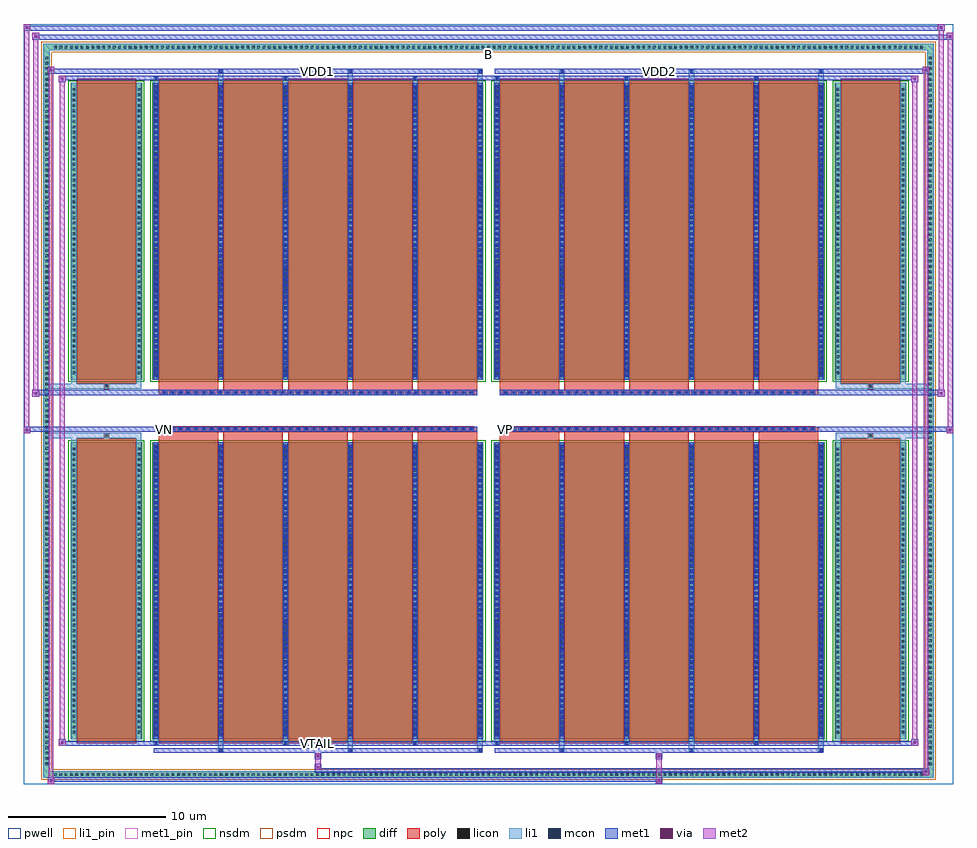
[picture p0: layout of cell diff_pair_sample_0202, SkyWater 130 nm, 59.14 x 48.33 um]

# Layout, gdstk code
import gdstk
lib = gdstk.Library(unit=1e-6, precision=5e-09)
def R(c, l, rs):  # rectangles x0, y0, x1, y1
    for r in rs: c.add(gdstk.rectangle(r[:2], r[2:], *l))
def A(c, l, x, y, w, h, nx, ny, dx, dy):  # array of equal rectangles
    R(c, l, [(x+i*dx, y+j*dy, x+i*dx+w, y+j*dy+h) for i in range(nx) for j in range(ny)])
def P(c, l, *ps):  # polygons
    for p in ps: c.add(gdstk.Polygon(p, *l))
pwell = (64, 44)
diff = (65, 20)
poly = (66, 20)
licon = (66, 44)
li1_pin = (67, 16)
li1 = (67, 20)
mcon = (67, 44)
met1_pin = (68, 16)
met1 = (68, 20)
via = (68, 44)
met2 = (69, 20)
nsdm = (93, 44)
psdm = (94, 20)
npc = (95, 20)

diff_pair_sample_0202 = lib.new_cell('diff_pair_sample_0202')
R(diff_pair_sample_0202, pwell, [(-29.57,-23.73,29.57,24.6), (-26.89,-21.92,-0.01,-0.8), (0.01,-21.92,26.89,-0.8), (-26.89,0.8,-0.01,21.92), (0.01,0.8,26.89,21.92)])
A(diff_pair_sample_0202, diff, -27.745, -23.33, 0.41, 0.41, 163, 2, 0.34, 46.25)
A(diff_pair_sample_0202, diff, -28.3, -22.645, 0.41, 0.41, 1, 133, 0, 0.34)
A(diff_pair_sample_0202, diff, 27.89, -22.645, 0.41, 0.41, 1, 133, 0, 0.34)
R(diff_pair_sample_0202, diff, [(-27.745,-23.33,27.745,-22.92), (-28.3,-22.645,-27.89,22.645), (27.89,-22.645,28.3,22.645), (-26.58,-20.875,-22.01,-1.985), (-21.37,-20.875,-0.32,-1.985), (0.32,-20.875,21.37,-1.985), (22.01,-20.875,26.58,-1.985), (-26.58,1.985,-22.01,20.875), (-21.37,1.985,-0.32,20.875), (0.32,1.985,21.37,20.875), (22.01,1.985,26.58,20.875), (-27.745,22.92,27.745,23.33)])
P(diff_pair_sample_0202, diff, [(28.3,23.33),(-28.3,23.33),(-28.3,-22.92),(-27.89,-22.92),(-27.89,22.92),(27.89,22.92),(27.89,-22.92),(-27.89,-22.92),(-28.3,-22.92),(-28.3,-23.33),(28.3,-23.33)])
A(diff_pair_sample_0202, poly, -20.98, -21.125, 3.79, 19.39, 5, 2, 4.12, 22.86)
A(diff_pair_sample_0202, poly, 0.71, -21.125, 3.79, 19.39, 5, 2, 4.12, 22.86)
A(diff_pair_sample_0202, poly, -20.98, -1.735, 3.79, 0.405, 5, 2, 4.12, 3.065)
A(diff_pair_sample_0202, poly, 0.71, -1.735, 3.79, 0.405, 5, 2, 4.12, 3.065)
A(diff_pair_sample_0202, poly, -20.76, -1.33, 0.33, 0.33, 40, 2, 0.5, 2.33)
A(diff_pair_sample_0202, poly, 0.93, -1.33, 0.33, 0.33, 40, 2, 0.5, 2.33)
R(diff_pair_sample_0202, poly, [(-26.19,-21.125,-22.4,-1.735), (22.4,-21.125,26.19,-1.735), (-24.46,-1.735,-24.13,-1.405), (-24.46,-1.735,-24.13,-1.405), (24.13,-1.735,24.46,-1.405), (24.13,-1.735,24.46,-1.405), (-20.98,-1.33,-0.71,-1), (0.71,-1.33,20.98,-1), (-20.98,1,-0.71,1.33), (0.71,1,20.98,1.33), (-24.46,1.405,-24.13,1.735), (-24.46,1.405,-24.13,1.735), (24.13,1.405,24.46,1.735), (24.13,1.405,24.46,1.735), (-26.19,1.735,-22.4,21.125), (22.4,1.735,26.19,21.125)])
A(diff_pair_sample_0202, licon, -27.625, -23.21, 0.17, 0.17, 163, 2, 0.34, 46.25)
A(diff_pair_sample_0202, licon, -28.18, -22.525, 0.17, 0.17, 1, 133, 0, 0.34)
A(diff_pair_sample_0202, licon, 28.01, -22.525, 0.17, 0.17, 1, 133, 0, 0.34)
A(diff_pair_sample_0202, licon, -26.44, -20.525, 0.17, 0.17, 1, 54, 0, 0.34)
A(diff_pair_sample_0202, licon, -22.32, -20.525, 0.17, 0.17, 1, 54, 0, 0.34)
A(diff_pair_sample_0202, licon, -21.23, -20.525, 0.17, 0.17, 6, 54, 4.12, 0.34)
A(diff_pair_sample_0202, licon, 0.46, -20.525, 0.17, 0.17, 6, 54, 4.12, 0.34)
A(diff_pair_sample_0202, licon, 22.15, -20.525, 0.17, 0.17, 1, 54, 0, 0.34)
A(diff_pair_sample_0202, licon, 26.27, -20.525, 0.17, 0.17, 1, 54, 0, 0.34)
A(diff_pair_sample_0202, licon, -20.68, -1.25, 0.17, 0.17, 40, 2, 0.5, 2.33)
A(diff_pair_sample_0202, licon, 1.01, -1.25, 0.17, 0.17, 40, 2, 0.5, 2.33)
A(diff_pair_sample_0202, licon, -26.44, 2.335, 0.17, 0.17, 1, 54, 0, 0.34)
A(diff_pair_sample_0202, licon, -22.32, 2.335, 0.17, 0.17, 1, 54, 0, 0.34)
A(diff_pair_sample_0202, licon, -21.23, 2.335, 0.17, 0.17, 6, 54, 4.12, 0.34)
A(diff_pair_sample_0202, licon, 0.46, 2.335, 0.17, 0.17, 6, 54, 4.12, 0.34)
A(diff_pair_sample_0202, licon, 22.15, 2.335, 0.17, 0.17, 1, 54, 0, 0.34)
A(diff_pair_sample_0202, licon, 26.27, 2.335, 0.17, 0.17, 1, 54, 0, 0.34)
R(diff_pair_sample_0202, licon, [(-24.38,-1.655,-24.21,-1.485), (24.21,-1.655,24.38,-1.485), (-24.38,1.485,-24.21,1.655), (24.21,1.485,24.38,1.655)])
R(diff_pair_sample_0202, li1_pin, [(-0.25,22.42,0.25,22.92)])
A(diff_pair_sample_0202, li1, -27.705, -23.29, 0.33, 0.33, 163, 2, 0.34, 46.25)
A(diff_pair_sample_0202, li1, -28.26, -22.605, 0.33, 0.33, 1, 133, 0, 0.34)
A(diff_pair_sample_0202, li1, 27.93, -22.605, 0.33, 0.33, 1, 133, 0, 0.34)
A(diff_pair_sample_0202, li1, -17.19, -21.68, 0.33, 0.805, 3, 2, 8.24, 42.555)
A(diff_pair_sample_0202, li1, -17.11, -21.68, 0.17, 0.17, 3, 2, 8.24, 43.19)
A(diff_pair_sample_0202, li1, 4.5, -21.68, 0.33, 0.805, 3, 2, 8.24, 42.555)
A(diff_pair_sample_0202, li1, 4.58, -21.68, 0.17, 0.17, 3, 2, 8.24, 43.19)
A(diff_pair_sample_0202, li1, -21.31, -21.25, 0.33, 0.375, 3, 2, 8.24, 42.125)
A(diff_pair_sample_0202, li1, -21.23, -21.25, 0.17, 0.17, 3, 2, 8.24, 42.33)
A(diff_pair_sample_0202, li1, 0.38, -21.25, 0.33, 0.375, 3, 2, 8.24, 42.125)
A(diff_pair_sample_0202, li1, 0.46, -21.25, 0.17, 0.17, 3, 2, 8.24, 42.33)
A(diff_pair_sample_0202, li1, -21.31, -20.875, 0.33, 18.89, 6, 2, 4.12, 22.86)
A(diff_pair_sample_0202, li1, 0.38, -20.875, 0.33, 18.89, 6, 2, 4.12, 22.86)
A(diff_pair_sample_0202, li1, -21.23, -20.695, 0.17, 0.17, 6, 52, 4.12, 0.36)
A(diff_pair_sample_0202, li1, -21.23, -20.695, 0.17, 18.53, 6, 2, 4.12, 22.86)
A(diff_pair_sample_0202, li1, 0.46, -20.695, 0.17, 0.17, 6, 52, 4.12, 0.36)
A(diff_pair_sample_0202, li1, 0.46, -20.695, 0.17, 18.53, 6, 2, 4.12, 22.86)
A(diff_pair_sample_0202, li1, -26.52, -20.605, 0.33, 0.33, 1, 54, 0, 0.34)
A(diff_pair_sample_0202, li1, -22.4, -20.605, 0.33, 0.33, 1, 54, 0, 0.34)
A(diff_pair_sample_0202, li1, -21.31, -20.605, 0.33, 0.33, 6, 54, 4.12, 0.34)
A(diff_pair_sample_0202, li1, 0.38, -20.605, 0.33, 0.33, 6, 54, 4.12, 0.34)
A(diff_pair_sample_0202, li1, 22.07, -20.605, 0.33, 0.33, 1, 54, 0, 0.34)
A(diff_pair_sample_0202, li1, 26.19, -20.605, 0.33, 0.33, 1, 54, 0, 0.34)
A(diff_pair_sample_0202, li1, -20.76, -1.33, 0.33, 0.33, 40, 2, 0.5, 2.33)
A(diff_pair_sample_0202, li1, 0.93, -1.33, 0.33, 0.33, 40, 2, 0.5, 2.33)
A(diff_pair_sample_0202, li1, -21.23, 2.165, 0.17, 0.17, 6, 52, 4.12, 0.36)
A(diff_pair_sample_0202, li1, 0.46, 2.165, 0.17, 0.17, 6, 52, 4.12, 0.36)
A(diff_pair_sample_0202, li1, -26.52, 2.255, 0.33, 0.33, 1, 54, 0, 0.34)
A(diff_pair_sample_0202, li1, -22.4, 2.255, 0.33, 0.33, 1, 54, 0, 0.34)
A(diff_pair_sample_0202, li1, -21.31, 2.255, 0.33, 0.33, 6, 54, 4.12, 0.34)
A(diff_pair_sample_0202, li1, 0.38, 2.255, 0.33, 0.33, 6, 54, 4.12, 0.34)
A(diff_pair_sample_0202, li1, 22.07, 2.255, 0.33, 0.33, 1, 54, 0, 0.34)
A(diff_pair_sample_0202, li1, 26.19, 2.255, 0.33, 0.33, 1, 54, 0, 0.34)
R(diff_pair_sample_0202, li1, [(-28.3,-23.33,-27.89,-22.92), (-28.3,-23.33,-27.89,-22.92), (-27.89,-23.33,27.89,-22.92), (27.89,-23.33,28.3,-22.92), (27.89,-23.33,28.3,-22.92), (-28.3,-22.92,-27.89,22.92), (27.89,-22.92,28.3,22.92), (-26.52,-20.875,-26.19,-1.985), (-22.4,-20.875,-22.07,-1.985), (22.07,-20.875,22.4,-1.985), (26.19,-20.875,26.52,-1.985), (-26.52,-1.985,-26.19,-1.405), (-22.4,-1.985,-22.07,-1.405), (22.07,-1.985,22.4,-1.405), (26.19,-1.985,26.52,-1.405), (-28.3,-1.735,-24.46,-1.405), (-26.52,-1.735,-24.46,-1.405), (-24.46,-1.735,-24.13,-1.405), (-24.13,-1.735,-22.07,-1.405), (22.07,-1.735,24.13,-1.405), (24.13,-1.735,24.46,-1.405), (24.13,-1.735,28.3,-1.405), (24.46,-1.735,26.52,-1.405), (-28.3,1.405,-24.46,1.735), (-26.52,1.405,-24.46,1.735), (-26.52,1.405,-26.19,1.985), (-24.46,1.405,-24.13,1.735), (-24.13,1.405,-22.07,1.735), (-22.4,1.405,-22.07,1.985), (22.07,1.405,24.13,1.735), (22.07,1.405,22.4,1.985), (24.13,1.405,24.46,1.735), (24.13,1.405,28.3,1.735), (24.46,1.405,26.52,1.735), (26.19,1.405,26.52,1.985), (-26.52,1.985,-26.19,20.875), (-22.4,1.985,-22.07,20.875), (22.07,1.985,22.4,20.875), (26.19,1.985,26.52,20.875), (-28.3,22.92,-27.89,23.33), (-28.3,22.92,-27.89,23.33), (-27.89,22.92,27.89,23.33), (27.89,22.92,28.3,23.33), (27.89,22.92,28.3,23.33)])
A(diff_pair_sample_0202, mcon, -17.11, -21.68, 0.17, 0.17, 3, 2, 8.24, 43.19)
A(diff_pair_sample_0202, mcon, 4.58, -21.68, 0.17, 0.17, 3, 2, 8.24, 43.19)
A(diff_pair_sample_0202, mcon, -21.23, -21.25, 0.17, 0.17, 3, 2, 8.24, 42.33)
A(diff_pair_sample_0202, mcon, 0.46, -21.25, 0.17, 0.17, 3, 2, 8.24, 42.33)
A(diff_pair_sample_0202, mcon, -21.23, -20.695, 0.17, 0.17, 6, 52, 4.12, 0.36)
A(diff_pair_sample_0202, mcon, 0.46, -20.695, 0.17, 0.17, 6, 52, 4.12, 0.36)
A(diff_pair_sample_0202, mcon, -20.68, -1.25, 0.17, 0.17, 40, 2, 0.5, 2.33)
A(diff_pair_sample_0202, mcon, 1.01, -1.25, 0.17, 0.17, 40, 2, 0.5, 2.33)
A(diff_pair_sample_0202, mcon, -21.23, 2.165, 0.17, 0.17, 6, 52, 4.12, 0.36)
A(diff_pair_sample_0202, mcon, 0.46, 2.165, 0.17, 0.17, 6, 52, 4.12, 0.36)
R(diff_pair_sample_0202, met1_pin, [(-10.98,-21.29,-10.71,-21.02), (-20.73,-1.29,-20.46,-1.02), (0.96,-1.29,1.23,-1.02), (-10.98,21.47,-10.71,21.74), (10.71,21.47,10.98,21.74)])
A(diff_pair_sample_0202, met1, -17.17, -21.74, 0.29, 0.29, 3, 2, 8.24, 43.19)
A(diff_pair_sample_0202, met1, 4.52, -21.74, 0.29, 0.29, 3, 2, 8.24, 43.19)
A(diff_pair_sample_0202, met1, -21.29, -21.31, 0.29, 0.29, 3, 2, 8.24, 42.33)
A(diff_pair_sample_0202, met1, 0.4, -21.31, 0.29, 0.29, 3, 2, 8.24, 42.33)
A(diff_pair_sample_0202, met1, -21.29, -20.875, 0.29, 18.89, 6, 2, 4.12, 22.86)
A(diff_pair_sample_0202, met1, 0.4, -20.875, 0.29, 18.89, 6, 2, 4.12, 22.86)
A(diff_pair_sample_0202, met1, -21.29, -20.755, 0.29, 0.29, 6, 52, 4.12, 0.36)
A(diff_pair_sample_0202, met1, 0.4, -20.755, 0.29, 0.29, 6, 52, 4.12, 0.36)
A(diff_pair_sample_0202, met1, -20.74, -1.31, 0.29, 0.29, 40, 2, 0.5, 2.33)
A(diff_pair_sample_0202, met1, 0.95, -1.31, 0.29, 0.29, 40, 2, 0.5, 2.33)
A(diff_pair_sample_0202, met1, -21.29, 2.105, 0.29, 0.29, 6, 52, 4.12, 0.36)
A(diff_pair_sample_0202, met1, 0.4, 2.105, 0.29, 0.29, 6, 52, 4.12, 0.36)
R(diff_pair_sample_0202, met1, [(-28.03,-23.73,-27.6,-23.3), (10.63,-23.73,11.06,-23.3), (-28.03,-23.59,11.06,-23.3), (27.6,-23.16,28.03,-22.73), (-11.06,-23.02,28.03,-22.73), (-11.06,-22.88,-10.63,-22.45), (-11.06,-22.17,-10.63,-21.74), (10.63,-22.17,11.06,-21.74), (-21.29,-21.74,-0.4,-21.45), (0.4,-21.74,21.29,-21.45), (-27.32,-21.31,-26.89,-20.88), (-27.32,-21.31,-21.29,-21.02), (-21.29,-21.31,-0.4,-21.02), (-0.4,-21.31,0.4,-21.02), (0.4,-21.31,21.29,-21.02), (21.29,-21.31,27.32,-21.02), (26.89,-21.31,27.32,-20.88), (-29.57,-1.43,-29.14,-1), (29.14,-1.43,29.57,-1), (-29.57,-1.33,-0.71,-1), (-20.98,-1.33,-0.71,-1), (0.71,-1.33,20.98,-1), (0.71,-1.33,29.57,-1), (-29,0.9,-28.57,1.33), (28.57,0.9,29,1.33), (-29,1,-20.98,1.33), (-20.98,1,-0.71,1.33), (0.71,1,20.98,1.33), (20.98,1,29,1.33), (-27.32,20.88,-26.89,21.31), (26.89,20.88,27.32,21.31), (-27.32,21.02,-21.29,21.31), (-21.29,21.02,-0.4,21.31), (-0.4,21.02,0.4,21.31), (0.4,21.02,21.29,21.31), (21.29,21.02,27.32,21.31), (-28.03,21.45,-27.6,21.88), (-28.03,21.45,-21.29,21.74), (-21.29,21.45,-0.4,21.74), (0.4,21.45,21.29,21.74), (21.29,21.45,28.03,21.74), (27.6,21.45,28.03,21.88), (-29,23.6,-28.57,24.03), (-29,23.6,-26.89,23.93), (-26.89,23.6,26.89,23.93), (26.89,23.6,29.57,23.93), (29.14,23.6,29.57,24.03), (-29.57,24.17,-29.14,24.6), (-29.57,24.17,-26.89,24.5), (-26.89,24.17,26.89,24.5), (26.89,24.17,29,24.5), (28.57,24.17,29,24.6)])
R(diff_pair_sample_0202, via, [(-27.89,-23.59,-27.74,-23.44), (10.77,-23.59,10.92,-23.44), (27.74,-23.02,27.89,-22.87), (-10.92,-22.74,-10.77,-22.59), (-10.92,-22.03,-10.77,-21.88), (10.77,-22.03,10.92,-21.88), (-27.18,-21.17,-27.03,-21.02), (27.03,-21.17,27.18,-21.02), (-29.43,-1.29,-29.28,-1.14), (29.28,-1.29,29.43,-1.14), (-28.86,1.04,-28.71,1.19), (28.71,1.04,28.86,1.19), (-27.18,21.02,-27.03,21.17), (27.03,21.02,27.18,21.17), (-27.89,21.59,-27.74,21.74), (27.74,21.59,27.89,21.74), (-28.86,23.74,-28.71,23.89), (29.28,23.74,29.43,23.89), (-29.43,24.31,-29.28,24.46), (28.71,24.31,28.86,24.46)])
R(diff_pair_sample_0202, met2, [(-28.03,-23.73,-27.6,-23.3), (-27.96,-23.73,-27.67,21.88), (-27.67,-23.73,-27.6,-23.3), (-27.98,-23.68,-27.65,-23.35), (10.68,-23.68,11.01,-23.35), (10.68,-23.35,11.01,-22.12), (27.6,-23.16,28.03,-22.73), (27.67,-23.16,27.96,21.88), (27.96,-23.16,28.03,-22.73), (27.65,-23.11,27.98,-22.78), (-11.01,-22.83,-10.68,-22.5), (-11.01,-22.5,-10.68,-22.12), (-11.01,-22.12,-10.68,-21.79), (10.68,-22.12,11.01,-21.79), (-27.32,-21.31,-26.89,-20.88), (-27.25,-21.31,-26.96,21.31), (-26.96,-21.31,-26.89,-20.88), (26.89,-21.31,27.32,-20.88), (26.96,-21.31,27.25,21.31), (27.25,-21.31,27.32,-20.88), (-27.27,-21.26,-26.94,-20.93), (26.94,-21.26,27.27,-20.93), (-29.57,-1.43,-29.14,-1), (-29.52,-1.43,-29.19,24.6), (-29.19,-1.43,-29.14,-1), (29.14,-1.43,29.57,-1), (29.19,-1.43,29.52,24.03), (29.52,-1.43,29.57,-1), (-29.52,-1.38,-29.19,-1.05), (29.19,-1.38,29.52,-1.05), (-29,0.9,-28.57,1.33), (-28.95,0.9,-28.62,24.03), (-28.62,0.9,-28.57,1.33), (28.57,0.9,29,1.33), (28.62,0.9,28.95,24.6), (28.95,0.9,29,1.33), (-28.95,0.95,-28.62,1.28), (28.62,0.95,28.95,1.28), (-27.32,20.88,-26.89,21.31), (-26.96,20.88,-26.89,21.31), (26.89,20.88,27.32,21.31), (27.25,20.88,27.32,21.31), (-27.27,20.93,-26.94,21.26), (26.94,20.93,27.27,21.26), (-28.03,21.45,-27.6,21.88), (-27.67,21.45,-27.6,21.88), (27.6,21.45,28.03,21.88), (27.96,21.45,28.03,21.88), (-27.98,21.5,-27.65,21.83), (27.65,21.5,27.98,21.83), (-29,23.6,-28.57,24.03), (-28.62,23.6,-28.57,24.03), (29.14,23.6,29.57,24.03), (29.52,23.6,29.57,24.03), (-28.95,23.65,-28.62,23.98), (29.19,23.65,29.52,23.98), (-29.57,24.17,-29.14,24.6), (-29.19,24.17,-29.14,24.6), (28.57,24.17,29,24.6), (28.95,24.17,29,24.6), (-29.52,24.22,-29.19,24.55), (28.62,24.22,28.95,24.55)])
R(diff_pair_sample_0202, nsdm, [(-26.71,-21.005,-21.88,-1.855), (-21.5,-21.005,-0.19,-1.855), (0.19,-21.005,21.5,-1.855), (21.88,-21.005,26.71,-1.855), (-26.71,1.855,-21.88,21.005), (-21.5,1.855,-0.19,21.005), (0.19,1.855,21.5,21.005), (21.88,1.855,26.71,21.005)])
P(diff_pair_sample_0202, psdm, [(28.43,23.46),(-28.43,23.46),(-28.43,-22.79),(-27.76,-22.79),(-27.76,22.79),(27.76,22.79),(27.76,-22.79),(-27.76,-22.79),(-28.43,-22.79),(-28.43,-23.46),(28.43,-23.46)])
A(diff_pair_sample_0202, npc, -20.78, -1.35, 0.37, 0.37, 40, 2, 0.5, 2.33)
A(diff_pair_sample_0202, npc, 0.91, -1.35, 0.37, 0.37, 40, 2, 0.5, 2.33)
R(diff_pair_sample_0202, npc, [(-24.48,-1.755,-24.11,-1.385), (24.11,-1.755,24.48,-1.385), (-20.78,-1.35,-19.91,-0.98), (-20.78,-1.35,-19.91,-0.98), (-20.28,-1.35,-19.41,-0.98), (-20.28,-1.35,-19.41,-0.98), (-19.78,-1.35,-18.91,-0.98), (-19.78,-1.35,-18.91,-0.98), (-19.28,-1.35,-18.41,-0.98), (-19.28,-1.35,-18.41,-0.98), (-18.78,-1.35,-17.91,-0.98), (-18.78,-1.35,-17.91,-0.98), (-18.28,-1.35,-17.41,-0.98), (-18.28,-1.35,-17.41,-0.98), (-17.78,-1.35,-16.91,-0.98), (-17.78,-1.35,-16.91,-0.98), (-17.28,-1.35,-16.41,-0.98), (-17.28,-1.35,-16.41,-0.98), (-16.78,-1.35,-15.91,-0.98), (-16.78,-1.35,-15.91,-0.98), (-16.28,-1.35,-15.41,-0.98), (-16.28,-1.35,-15.41,-0.98), (-15.78,-1.35,-14.91,-0.98), (-15.78,-1.35,-14.91,-0.98), (-15.28,-1.35,-14.41,-0.98), (-15.28,-1.35,-14.41,-0.98), (-14.78,-1.35,-13.91,-0.98), (-14.78,-1.35,-13.91,-0.98), (-14.28,-1.35,-13.41,-0.98), (-14.28,-1.35,-13.41,-0.98), (-13.78,-1.35,-12.91,-0.98), (-13.78,-1.35,-12.91,-0.98), (-13.28,-1.35,-12.41,-0.98), (-13.28,-1.35,-12.41,-0.98), (-12.78,-1.35,-11.91,-0.98), (-12.78,-1.35,-11.91,-0.98), (-12.28,-1.35,-11.41,-0.98), (-12.28,-1.35,-11.41,-0.98), (-11.78,-1.35,-10.91,-0.98), (-11.78,-1.35,-10.91,-0.98), (-11.28,-1.35,-10.41,-0.98), (-11.28,-1.35,-10.41,-0.98), (-10.78,-1.35,-9.91,-0.98), (-10.78,-1.35,-9.91,-0.98), (-10.28,-1.35,-9.41,-0.98), (-10.28,-1.35,-9.41,-0.98), (-9.78,-1.35,-8.91,-0.98), (-9.78,-1.35,-8.91,-0.98), (-9.28,-1.35,-8.41,-0.98), (-9.28,-1.35,-8.41,-0.98), (-8.78,-1.35,-7.91,-0.98), (-8.78,-1.35,-7.91,-0.98), (-8.28,-1.35,-7.41,-0.98), (-8.28,-1.35,-7.41,-0.98), (-7.78,-1.35,-6.91,-0.98), (-7.78,-1.35,-6.91,-0.98), (-7.28,-1.35,-6.41,-0.98), (-7.28,-1.35,-6.41,-0.98), (-6.78,-1.35,-5.91,-0.98), (-6.78,-1.35,-5.91,-0.98), (-6.28,-1.35,-5.41,-0.98), (-6.28,-1.35,-5.41,-0.98), (-5.78,-1.35,-4.91,-0.98), (-5.78,-1.35,-4.91,-0.98), (-5.28,-1.35,-4.41,-0.98), (-5.28,-1.35,-4.41,-0.98), (-4.78,-1.35,-3.91,-0.98), (-4.78,-1.35,-3.91,-0.98), (-4.28,-1.35,-3.41,-0.98), (-4.28,-1.35,-3.41,-0.98), (-3.78,-1.35,-2.91,-0.98), (-3.78,-1.35,-2.91,-0.98), (-3.28,-1.35,-2.41,-0.98), (-3.28,-1.35,-2.41,-0.98), (-2.78,-1.35,-1.91,-0.98), (-2.78,-1.35,-1.91,-0.98), (-2.28,-1.35,-1.41,-0.98), (-2.28,-1.35,-1.41,-0.98), (-1.78,-1.35,-0.91,-0.98), (-1.78,-1.35,-0.91,-0.98), (0.91,-1.35,1.78,-0.98), (0.91,-1.35,1.78,-0.98), (1.41,-1.35,2.28,-0.98), (1.41,-1.35,2.28,-0.98), (1.91,-1.35,2.78,-0.98), (1.91,-1.35,2.78,-0.98), (2.41,-1.35,3.28,-0.98), (2.41,-1.35,3.28,-0.98), (2.91,-1.35,3.78,-0.98), (2.91,-1.35,3.78,-0.98), (3.41,-1.35,4.28,-0.98), (3.41,-1.35,4.28,-0.98), (3.91,-1.35,4.78,-0.98), (3.91,-1.35,4.78,-0.98), (4.41,-1.35,5.28,-0.98), (4.41,-1.35,5.28,-0.98), (4.91,-1.35,5.78,-0.98), (4.91,-1.35,5.78,-0.98), (5.41,-1.35,6.28,-0.98), (5.41,-1.35,6.28,-0.98), (5.91,-1.35,6.78,-0.98), (5.91,-1.35,6.78,-0.98), (6.41,-1.35,7.28,-0.98), (6.41,-1.35,7.28,-0.98), (6.91,-1.35,7.78,-0.98), (6.91,-1.35,7.78,-0.98), (7.41,-1.35,8.28,-0.98), (7.41,-1.35,8.28,-0.98), (7.91,-1.35,8.78,-0.98), (7.91,-1.35,8.78,-0.98), (8.41,-1.35,9.28,-0.98), (8.41,-1.35,9.28,-0.98), (8.91,-1.35,9.78,-0.98), (8.91,-1.35,9.78,-0.98), (9.41,-1.35,10.28,-0.98), (9.41,-1.35,10.28,-0.98), (9.91,-1.35,10.78,-0.98), (9.91,-1.35,10.78,-0.98), (10.41,-1.35,11.28,-0.98), (10.41,-1.35,11.28,-0.98), (10.91,-1.35,11.78,-0.98), (10.91,-1.35,11.78,-0.98), (11.41,-1.35,12.28,-0.98), (11.41,-1.35,12.28,-0.98), (11.91,-1.35,12.78,-0.98), (11.91,-1.35,12.78,-0.98), (12.41,-1.35,13.28,-0.98), (12.41,-1.35,13.28,-0.98), (12.91,-1.35,13.78,-0.98), (12.91,-1.35,13.78,-0.98), (13.41,-1.35,14.28,-0.98), (13.41,-1.35,14.28,-0.98), (13.91,-1.35,14.78,-0.98), (13.91,-1.35,14.78,-0.98), (14.41,-1.35,15.28,-0.98), (14.41,-1.35,15.28,-0.98), (14.91,-1.35,15.78,-0.98), (14.91,-1.35,15.78,-0.98), (15.41,-1.35,16.28,-0.98), (15.41,-1.35,16.28,-0.98), (15.91,-1.35,16.78,-0.98), (15.91,-1.35,16.78,-0.98), (16.41,-1.35,17.28,-0.98), (16.41,-1.35,17.28,-0.98), (16.91,-1.35,17.78,-0.98), (16.91,-1.35,17.78,-0.98), (17.41,-1.35,18.28,-0.98), (17.41,-1.35,18.28,-0.98), (17.91,-1.35,18.78,-0.98), (17.91,-1.35,18.78,-0.98), (18.41,-1.35,19.28,-0.98), (18.41,-1.35,19.28,-0.98), (18.91,-1.35,19.78,-0.98), (18.91,-1.35,19.78,-0.98), (19.41,-1.35,20.28,-0.98), (19.41,-1.35,20.28,-0.98), (19.91,-1.35,20.78,-0.98), (19.91,-1.35,20.78,-0.98), (-20.78,0.98,-19.91,1.35), (-20.78,0.98,-19.91,1.35), (-20.28,0.98,-19.41,1.35), (-20.28,0.98,-19.41,1.35), (-19.78,0.98,-18.91,1.35), (-19.78,0.98,-18.91,1.35), (-19.28,0.98,-18.41,1.35), (-19.28,0.98,-18.41,1.35), (-18.78,0.98,-17.91,1.35), (-18.78,0.98,-17.91,1.35), (-18.28,0.98,-17.41,1.35), (-18.28,0.98,-17.41,1.35), (-17.78,0.98,-16.91,1.35), (-17.78,0.98,-16.91,1.35), (-17.28,0.98,-16.41,1.35), (-17.28,0.98,-16.41,1.35), (-16.78,0.98,-15.91,1.35), (-16.78,0.98,-15.91,1.35), (-16.28,0.98,-15.41,1.35), (-16.28,0.98,-15.41,1.35), (-15.78,0.98,-14.91,1.35), (-15.78,0.98,-14.91,1.35), (-15.28,0.98,-14.41,1.35), (-15.28,0.98,-14.41,1.35), (-14.78,0.98,-13.91,1.35), (-14.78,0.98,-13.91,1.35), (-14.28,0.98,-13.41,1.35), (-14.28,0.98,-13.41,1.35), (-13.78,0.98,-12.91,1.35), (-13.78,0.98,-12.91,1.35), (-13.28,0.98,-12.41,1.35), (-13.28,0.98,-12.41,1.35), (-12.78,0.98,-11.91,1.35), (-12.78,0.98,-11.91,1.35), (-12.28,0.98,-11.41,1.35), (-12.28,0.98,-11.41,1.35), (-11.78,0.98,-10.91,1.35), (-11.78,0.98,-10.91,1.35), (-11.28,0.98,-10.41,1.35), (-11.28,0.98,-10.41,1.35), (-10.78,0.98,-9.91,1.35), (-10.78,0.98,-9.91,1.35), (-10.28,0.98,-9.41,1.35), (-10.28,0.98,-9.41,1.35), (-9.78,0.98,-8.91,1.35), (-9.78,0.98,-8.91,1.35), (-9.28,0.98,-8.41,1.35), (-9.28,0.98,-8.41,1.35), (-8.78,0.98,-7.91,1.35), (-8.78,0.98,-7.91,1.35), (-8.28,0.98,-7.41,1.35), (-8.28,0.98,-7.41,1.35), (-7.78,0.98,-6.91,1.35), (-7.78,0.98,-6.91,1.35), (-7.28,0.98,-6.41,1.35), (-7.28,0.98,-6.41,1.35), (-6.78,0.98,-5.91,1.35), (-6.78,0.98,-5.91,1.35), (-6.28,0.98,-5.41,1.35), (-6.28,0.98,-5.41,1.35), (-5.78,0.98,-4.91,1.35), (-5.78,0.98,-4.91,1.35), (-5.28,0.98,-4.41,1.35), (-5.28,0.98,-4.41,1.35), (-4.78,0.98,-3.91,1.35), (-4.78,0.98,-3.91,1.35), (-4.28,0.98,-3.41,1.35), (-4.28,0.98,-3.41,1.35), (-3.78,0.98,-2.91,1.35), (-3.78,0.98,-2.91,1.35), (-3.28,0.98,-2.41,1.35), (-3.28,0.98,-2.41,1.35), (-2.78,0.98,-1.91,1.35), (-2.78,0.98,-1.91,1.35), (-2.28,0.98,-1.41,1.35), (-2.28,0.98,-1.41,1.35), (-1.78,0.98,-0.91,1.35), (-1.78,0.98,-0.91,1.35), (0.91,0.98,1.78,1.35), (0.91,0.98,1.78,1.35), (1.41,0.98,2.28,1.35), (1.41,0.98,2.28,1.35), (1.91,0.98,2.78,1.35), (1.91,0.98,2.78,1.35), (2.41,0.98,3.28,1.35), (2.41,0.98,3.28,1.35), (2.91,0.98,3.78,1.35), (2.91,0.98,3.78,1.35), (3.41,0.98,4.28,1.35), (3.41,0.98,4.28,1.35), (3.91,0.98,4.78,1.35), (3.91,0.98,4.78,1.35), (4.41,0.98,5.28,1.35), (4.41,0.98,5.28,1.35), (4.91,0.98,5.78,1.35), (4.91,0.98,5.78,1.35), (5.41,0.98,6.28,1.35), (5.41,0.98,6.28,1.35), (5.91,0.98,6.78,1.35), (5.91,0.98,6.78,1.35), (6.41,0.98,7.28,1.35), (6.41,0.98,7.28,1.35), (6.91,0.98,7.78,1.35), (6.91,0.98,7.78,1.35), (7.41,0.98,8.28,1.35), (7.41,0.98,8.28,1.35), (7.91,0.98,8.78,1.35), (7.91,0.98,8.78,1.35), (8.41,0.98,9.28,1.35), (8.41,0.98,9.28,1.35), (8.91,0.98,9.78,1.35), (8.91,0.98,9.78,1.35), (9.41,0.98,10.28,1.35), (9.41,0.98,10.28,1.35), (9.91,0.98,10.78,1.35), (9.91,0.98,10.78,1.35), (10.41,0.98,11.28,1.35), (10.41,0.98,11.28,1.35), (10.91,0.98,11.78,1.35), (10.91,0.98,11.78,1.35), (11.41,0.98,12.28,1.35), (11.41,0.98,12.28,1.35), (11.91,0.98,12.78,1.35), (11.91,0.98,12.78,1.35), (12.41,0.98,13.28,1.35), (12.41,0.98,13.28,1.35), (12.91,0.98,13.78,1.35), (12.91,0.98,13.78,1.35), (13.41,0.98,14.28,1.35), (13.41,0.98,14.28,1.35), (13.91,0.98,14.78,1.35), (13.91,0.98,14.78,1.35), (14.41,0.98,15.28,1.35), (14.41,0.98,15.28,1.35), (14.91,0.98,15.78,1.35), (14.91,0.98,15.78,1.35), (15.41,0.98,16.28,1.35), (15.41,0.98,16.28,1.35), (15.91,0.98,16.78,1.35), (15.91,0.98,16.78,1.35), (16.41,0.98,17.28,1.35), (16.41,0.98,17.28,1.35), (16.91,0.98,17.78,1.35), (16.91,0.98,17.78,1.35), (17.41,0.98,18.28,1.35), (17.41,0.98,18.28,1.35), (17.91,0.98,18.78,1.35), (17.91,0.98,18.78,1.35), (18.41,0.98,19.28,1.35), (18.41,0.98,19.28,1.35), (18.91,0.98,19.78,1.35), (18.91,0.98,19.78,1.35), (19.41,0.98,20.28,1.35), (19.41,0.98,20.28,1.35), (19.91,0.98,20.78,1.35), (19.91,0.98,20.78,1.35), (-24.48,1.385,-24.11,1.755), (24.11,1.385,24.48,1.755)])
diff_pair_sample_0202.add(gdstk.Label('VTAIL', (-10.845,-21.155), layer=68, texttype=5))
diff_pair_sample_0202.add(gdstk.Label('VN', (-20.595,-1.155), layer=68, texttype=5))
diff_pair_sample_0202.add(gdstk.Label('VP', (1.095,-1.155), layer=68, texttype=5))
diff_pair_sample_0202.add(gdstk.Label('B', (0,22.67), layer=67, texttype=5))
diff_pair_sample_0202.add(gdstk.Label('VDD2', (10.845,21.605), layer=68, texttype=5))
diff_pair_sample_0202.add(gdstk.Label('VDD1', (-10.845,21.605), layer=68, texttype=5))

lib.write_gds('diff_pair_sample_0202.gds')
